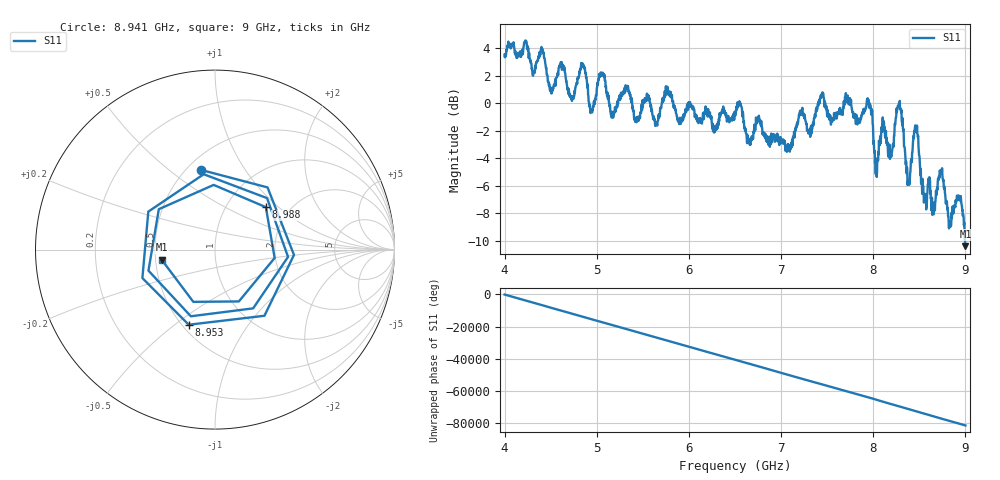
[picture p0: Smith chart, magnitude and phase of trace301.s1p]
! Created with skrf 1.8.0 (http://scikit-rf.org).
# Hz S RI R 50.0
!freq ReS11 ImS11
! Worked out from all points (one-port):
!   1601 points, 4 GHz to 9 GHz, reference 50 ohm
!   lowest |S11| = -10.4 dB at 9 GHz (marker M1), VSWR 1.87, Z = 26.9 - j3.34 ohm
!   |S11| at or under -10 dB: 8.995857 GHz to end of sweep
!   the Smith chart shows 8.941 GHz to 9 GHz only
!   S11 on the Smith chart (normalised r, x): 8.941 GHz: 0.59, +0.65; 8.953 GHz: 0.54, -0.56; 8.988 GHz: 1.52, +0.83; 9 GHz: 0.54, -0.07
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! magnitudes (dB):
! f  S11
! 4 GHz  3.5
! 4.403 GHz  3.9
! 4.506 GHz  1.0
! 4.625 GHz  2.8
! 4.731 GHz  0.2
! 4.856 GHz  2.8
! 4.941 GHz  -0.6
! 5.05 GHz  2.0
! 5.162 GHz  -1.0
! 5.25 GHz  0.2
! 5.875 GHz  -1.2
! 6.5 GHz  -0.7
! 7.125 GHz  -3.1
! 7.441 GHz  0.7
! 7.75 GHz  0.2
! 7.956 GHz  0.0
! 8.034 GHz  -4.5
! 8.112 GHz  -1.3
! 8.197 GHz  -3.9
! 8.281 GHz  -0.1
! 8.375 GHz  -5.7
! 8.462 GHz  -1.8
! 8.562 GHz  -6.6
! 8.728 GHz  -5.0
! 8.941 GHz  -6.9
! 8.953 GHz  -7.1
! 8.988 GHz  -8.7
! 9 GHz  -10.4
